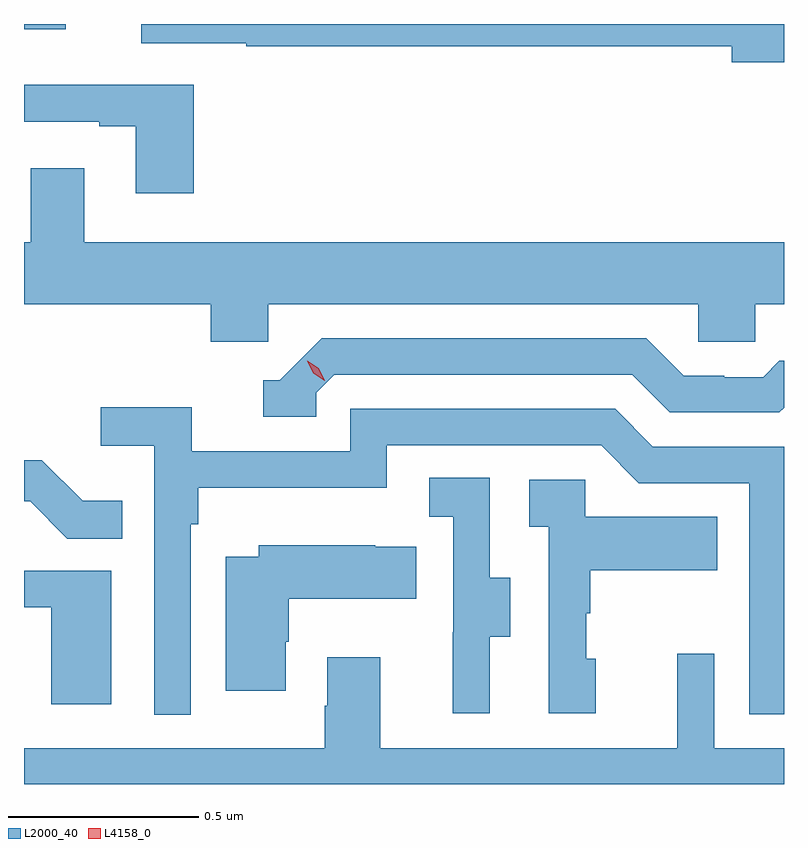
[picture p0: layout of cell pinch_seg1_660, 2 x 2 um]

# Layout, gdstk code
import gdstk
lib = gdstk.Library(unit=1e-6, precision=1e-09)
def R(c, l, rs):  # rectangles x0, y0, x1, y1
    for r in rs: c.add(gdstk.rectangle(r[:2], r[2:], *l))
def P(c, l, *ps):  # polygons
    for p in ps: c.add(gdstk.Polygon(p, *l))
L2000_40 = (2000, 40)
L4158_0 = (4158, 0)

pinch_seg1_660 = lib.new_cell('pinch_seg1_660')
R(pinch_seg1_660, L2000_40, [(1082.561,517.824,1082.671,517.838)])
P(pinch_seg1_660, L2000_40, [(1084.561,517.838),(1082.87,517.838),(1082.87,517.787),(1083.146,517.787),(1083.146,517.78),(1084.424,517.78),(1084.424,517.738),(1084.561,517.738)],
  [(1083.008,517.678),(1082.561,517.678),(1082.561,517.581),(1082.759,517.581),(1082.759,517.569),(1082.855,517.569),(1082.855,517.392),(1083.008,517.392)],
  [(1083.204,517.1),(1084.335,517.1),(1084.335,517.002),(1084.485,517.002),(1084.485,517.1),(1084.561,517.1),(1084.561,517.264),(1082.719,517.264),(1082.719,517.459),(1082.579,517.459),(1082.579,517.264),(1082.561,517.264),(1082.561,517.1),(1083.053,517.1),(1083.053,517.002),(1083.204,517.002)],
  [(1083.33,516.867),(1083.378,516.915),(1084.161,516.915),(1084.26,516.816),(1084.549,516.816),(1084.561,516.828),(1084.561,516.952),(1084.549,516.952),(1084.507,516.909),(1084.404,516.909),(1084.404,516.912),(1084.297,516.912),(1084.198,517.011),(1083.345,517.011),(1083.234,516.9),(1083.191,516.9),(1083.191,516.804),(1083.33,516.804)],
  [(1083,516.521),(1083.02,516.521),(1083.02,516.617),(1083.516,516.617),(1083.516,516.729),(1084.08,516.729),(1084.179,516.63),(1084.47,516.63),(1084.47,516.021),(1084.561,516.021),(1084.561,516.726),(1084.216,516.726),(1084.117,516.825),(1083.42,516.825),(1083.42,516.714),(1083.002,516.714),(1083.002,516.83),(1082.763,516.83),(1082.763,516.728),(1082.904,516.728),(1082.904,516.02),(1083,516.02)],
  [(1082.819,516.583),(1082.715,516.583),(1082.608,516.69),(1082.561,516.69),(1082.561,516.582),(1082.577,516.582),(1082.675,516.484),(1082.819,516.484)],
  [(1083.787,516.226),(1083.841,516.226),(1083.841,516.381),(1083.786,516.381),(1083.786,516.644),(1083.627,516.644),(1083.627,516.541),(1083.69,516.541),(1083.69,516.237),(1083.689,516.237),(1083.689,516.024),(1083.787,516.024)],
  [(1084.066,516.168),(1084.041,516.168),(1084.041,516.287),(1084.051,516.287),(1084.051,516.401),(1084.385,516.401),(1084.385,516.541),(1084.038,516.541),(1084.038,516.639),(1083.891,516.639),(1083.891,516.515),(1083.942,516.515),(1083.942,516.024),(1084.066,516.024)],
  [(1083.25,516.213),(1083.258,516.213),(1083.258,516.326),(1083.593,516.326),(1083.593,516.463),(1083.485,516.463),(1083.485,516.466),(1083.179,516.466),(1083.179,516.436),(1083.092,516.436),(1083.092,516.084),(1083.25,516.084)],
  [(1082.791,516.399),(1082.561,516.399),(1082.561,516.303),(1082.633,516.303),(1082.633,516.048),(1082.791,516.048)],
  [(1084.561,515.932),(1084.377,515.932),(1084.377,516.181),(1084.28,516.181),(1084.28,515.932),(1083.499,515.932),(1083.499,516.172),(1083.359,516.172),(1083.359,516.044),(1083.352,516.044),(1083.352,515.932),(1082.561,515.932),(1082.561,515.838),(1084.561,515.838)])
P(pinch_seg1_660, L4158_0, [(1083.352,516.899),(1083.322,516.919),(1083.306,516.952),(1083.306,516.952),(1083.306,516.952),(1083.337,516.932),(1083.352,516.9),(1083.352,516.899)])

lib.write_gds('pinch_seg1_660.gds')
